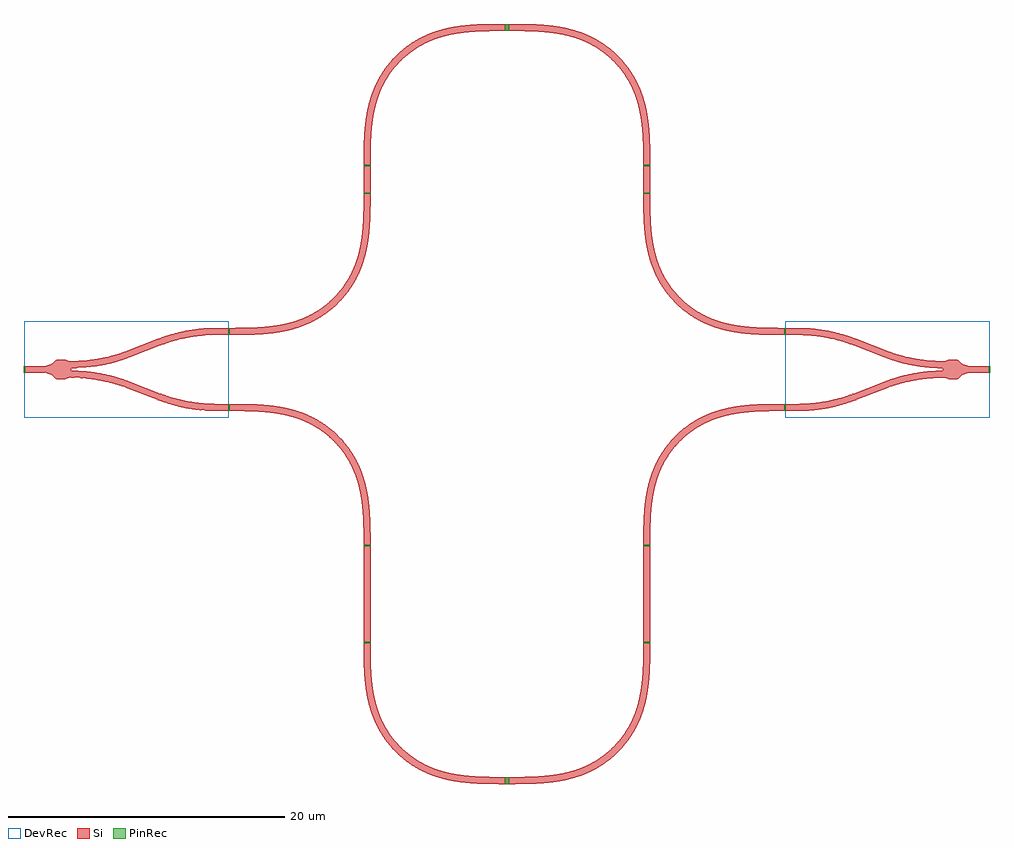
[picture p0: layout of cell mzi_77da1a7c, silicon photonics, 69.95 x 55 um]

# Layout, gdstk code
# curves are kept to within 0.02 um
from math import pi, radians
import gdstk
lib = gdstk.Library(unit=1e-6, precision=1e-09)
def R(c, l, rs):  # rectangles x0, y0, x1, y1
    for r in rs: c.add(gdstk.rectangle(r[:2], r[2:], *l))
def P(c, l, *ps):  # polygons
    for p in ps: c.add(gdstk.Polygon(p, *l))
Si = (1, 0)
PinRec = (1, 10)
DevRec = (68, 0)

ebeam_y_1550 = lib.new_cell('ebeam_y_1550')
R(ebeam_y_1550, Si, [(6.5,-3,7.4,-2.5), (-7.4,-0.25,-6,0.25), (6.5,2.5,7.4,3)])
P(ebeam_y_1550, Si, [(6.458,-3),(6.237,-2.997),(6.237,-2.497),(6.5,-2.5),(6.5,-3)],
  [(5.033,-2.908),(4.288,-2.79),(3.59,-2.634),(2.922,-2.442),(2.265,-2.21),(2.445,-1.744),(3.075,-1.966),(3.731,-2.154),(5.033,-2.404)],
  [(6.233,-2.997),(5.033,-2.908),(5.033,-2.404),(6.237,-2.497)],
  [(2.265,-2.21),(0.055,-1.356),(0.235,-0.89),(2.445,-1.744)],
  [(-0.762,-1.076),(-1.532,-0.874),(-2.334,-0.724),(-3.178,-0.63),(-4,-0.6),(-4,-0.1),(-3.16,-0.13),(-2.381,-0.212),(-1.565,-0.355),(-0.762,-0.555)],
  [(0.055,-1.356),(-0.762,-1.076),(-0.762,-0.555),(0.235,-0.89)],
  [(6.237,2.497),(6.237,2.997),(6.5,3),(6.5,2.5)],
  [(2.445,1.744),(2.267,2.211),(2.922,2.442),(3.59,2.634),(4.288,2.79),(5.033,2.908),(5.033,2.404),(3.731,2.154),(3.075,1.966)],
  [(5.033,2.404),(5.033,2.908),(6.237,2.997),(6.237,2.497)],
  [(0.235,0.89),(0.055,1.356),(2.265,2.21),(2.445,1.744)],
  [(-4,0.1),(-4,0.6),(-3.178,0.63),(-2.334,0.724),(-1.532,0.874),(-0.762,1.076),(-0.762,0.555),(-1.565,0.355),(-2.381,0.212),(-3.16,0.13)],
  [(-0.762,0.555),(-0.762,1.076),(0.055,1.356),(0.235,0.89)],
  [(-5.122,-0.662),(-5.442,-0.374),(-5.808,-0.255),(-6,-0.25),(-6,0.25),(-5.817,0.253),(-5.442,0.374),(-5.122,0.662)],
  [(-4.957,-0.703),(-5.122,-0.662),(-5.122,0.662),(-4.978,0.702),(-4.538,0.703),(-4.167,0.6),(-4,0.6),(-4,-0.6),(-4.167,-0.6),(-4.509,-0.701)])
R(ebeam_y_1550, DevRec, [(-7.4,-3.5,7.4,3.5)])
ebeam_y_1550.add(gdstk.FlexPath([(-7.35,0),(-7.45,0)], 0.5, ends="flush", simple_path=True, layer=1, datatype=10))  # PinRec
ebeam_y_1550.add(gdstk.FlexPath([(7.35,2.75),(7.45,2.75)], 0.5, ends="flush", simple_path=True, layer=1, datatype=10))  # PinRec
ebeam_y_1550.add(gdstk.FlexPath([(7.35,-2.75),(7.45,-2.75)], 0.5, ends="flush", simple_path=True, layer=1, datatype=10))  # PinRec
ebeam_y_1550.add(gdstk.Label('Ref: Y Zhang, Opt. Express, 21/1, 2013', (-7.5,-1), layer=10, texttype=0))
ebeam_y_1550.add(gdstk.Label('opt2', (7.4,2.75), layer=1, texttype=10))
ebeam_y_1550.add(gdstk.Label('opt3', (7.4,-2.75), layer=1, texttype=10))
ebeam_y_1550.add(gdstk.Label('opt1', (-7.4,0), layer=1, texttype=10))
ebeam_y_1550.add(gdstk.Label('Component=ebeam_y_1550', (-6,1.5), layer=68, texttype=0))
ebeam_y_1550.add(gdstk.Label('Lumerical_INTERCONNECT_library=Design kits/ebeam', (-6.86,-2.19), layer=68, texttype=0))
ebeam_y_1550.add(gdstk.Label('Ref: Y Zhang, Opt. Express, 21/1, 2013', (-7.5,-1), layer=10, texttype=0))
ebeam_y_1550.add(gdstk.Label('opt2', (7.4,2.75), layer=1, texttype=10))
ebeam_y_1550.add(gdstk.Label('opt3', (7.4,-2.75), layer=1, texttype=10))
ebeam_y_1550.add(gdstk.Label('opt1', (-7.4,0), layer=1, texttype=10))
ebeam_y_1550.add(gdstk.Label('Component=ebeam_y_1550', (-6,1.5), layer=68, texttype=0))
ebeam_y_1550.add(gdstk.Label('Lumerical_INTERCONNECT_library=Design kits/ebeam', (-6.86,-2.19), layer=68, texttype=0))

bend_euler = lib.new_cell('bend_euler')
P(bend_euler, Si, [(0.047,-0.25),(1.686,-0.23),(3.007,-0.136),(4.229,0.069),(5.261,0.372),(3.041,0.372),(1.761,0.273),(0,0.25),(0,-0.25)],
  [(5.287,0.382),(6.13,0.754),(6.841,1.176),(7.536,1.707),(8.117,2.268),(7.412,2.268),(6.857,1.801),(6.333,1.444),(5.778,1.136),(5.156,0.866),(4.206,0.577),(3.041,0.372)],
  [(8.13,2.282),(8.797,3.119),(9.29,3.957),(9.683,4.894),(9.962,5.911),(9.45,5.911),(9.134,4.844),(8.717,3.941),(8.434,3.476),(8.116,3.035),(7.412,2.268)],
  [(9.972,5.958),(10.113,6.804),(10.196,7.654),(10.236,8.502),(10.25,10),(9.75,10),(9.74,8.654),(9.694,7.643),(9.605,6.778),(9.45,5.911),(9.962,5.911)])
P(bend_euler, DevRec, [(0.047,-0.25),(1.686,-0.23),(3.007,-0.136),(4.229,0.069),(5.261,0.372),(3.041,0.372),(1.761,0.273),(0,0.25),(0,-0.25)],
  [(5.287,0.382),(6.13,0.754),(6.841,1.176),(7.536,1.707),(8.117,2.268),(7.412,2.268),(6.857,1.801),(6.333,1.444),(5.778,1.136),(5.156,0.866),(4.206,0.577),(3.041,0.372)],
  [(8.13,2.282),(8.797,3.119),(9.29,3.957),(9.683,4.894),(9.962,5.911),(9.45,5.911),(9.134,4.844),(8.717,3.941),(8.434,3.476),(8.116,3.035),(7.412,2.268)],
  [(9.972,5.958),(10.113,6.804),(10.196,7.654),(10.236,8.502),(10.25,10),(9.75,10),(9.74,8.654),(9.694,7.643),(9.605,6.778),(9.45,5.911),(9.962,5.911)])
bend_euler.add(gdstk.FlexPath([(0.05,0),(-0.05,0)], 0.5, ends="flush", simple_path=True, layer=1, datatype=10))  # PinRec
bend_euler.add(gdstk.FlexPath([(10,9.95),(10,10.05)], 0.5, ends="flush", simple_path=True, layer=1, datatype=10))  # PinRec
bend_euler.add(gdstk.Label('o1', (0,0), layer=1, texttype=10))
bend_euler.add(gdstk.Label('o2', (10,10), layer=1, texttype=10))

straight_length7p0 = lib.new_cell('straight_length7p0')
R(straight_length7p0, Si, [(0,-0.25,7,0.25)])
R(straight_length7p0, DevRec, [(0,-0.25,7,0.25)])
straight_length7p0.add(gdstk.FlexPath([(0.05,0),(-0.05,0)], 0.5, ends="flush", simple_path=True, layer=1, datatype=10))  # PinRec
straight_length7p0.add(gdstk.FlexPath([(6.95,0),(7.05,0)], 0.5, ends="flush", simple_path=True, layer=1, datatype=10))  # PinRec
straight_length7p0.add(gdstk.Label('o1', (0,0), layer=1, texttype=10))
straight_length7p0.add(gdstk.Label('o2', (7,0), layer=1, texttype=10))

straight_length0p1 = lib.new_cell('straight_length0p1')
R(straight_length0p1, Si, [(0,-0.25,0.1,0.25)])
R(straight_length0p1, DevRec, [(0,-0.25,0.1,0.25)])
straight_length0p1.add(gdstk.FlexPath([(0.05,0),(-0.05,0)], 0.5, ends="flush", simple_path=True, layer=1, datatype=10))  # PinRec
straight_length0p1.add(gdstk.FlexPath([(0.05,0),(0.15,0)], 0.5, ends="flush", simple_path=True, layer=1, datatype=10))  # PinRec
straight_length0p1.add(gdstk.Label('o1', (0,0), layer=1, texttype=10))
straight_length0p1.add(gdstk.Label('o2', (0.1,0), layer=1, texttype=10))

straight_length2p0 = lib.new_cell('straight_length2p0')
R(straight_length2p0, Si, [(0,-0.25,2,0.25)])
R(straight_length2p0, DevRec, [(0,-0.25,2,0.25)])
straight_length2p0.add(gdstk.FlexPath([(0.05,0),(-0.05,0)], 0.5, ends="flush", simple_path=True, layer=1, datatype=10))  # PinRec
straight_length2p0.add(gdstk.FlexPath([(1.95,0),(2.05,0)], 0.5, ends="flush", simple_path=True, layer=1, datatype=10))  # PinRec
straight_length2p0.add(gdstk.Label('o1', (0,0), layer=1, texttype=10))
straight_length2p0.add(gdstk.Label('o2', (2,0), layer=1, texttype=10))

straight_5eb36c7e = lib.new_cell('straight_5eb36c7e')
R(straight_5eb36c7e, Si, [(0,-0.25,0.14,0.25)])
R(straight_5eb36c7e, DevRec, [(0,-0.25,0.14,0.25)])
straight_5eb36c7e.add(gdstk.FlexPath([(0.05,0),(-0.05,0)], 0.5, ends="flush", simple_path=True, layer=1, datatype=10))  # PinRec
straight_5eb36c7e.add(gdstk.FlexPath([(0.09,0),(0.19,0)], 0.5, ends="flush", simple_path=True, layer=1, datatype=10))  # PinRec
straight_5eb36c7e.add(gdstk.Label('o1', (0,0), layer=1, texttype=10))
straight_5eb36c7e.add(gdstk.Label('o2', (0.14,0), layer=1, texttype=10))

straight_9c222140 = lib.new_cell('straight_9c222140')
R(straight_9c222140, Si, [(0,-0.25,2,0.25)])
R(straight_9c222140, DevRec, [(0,-0.25,2,0.25)])
straight_9c222140.add(gdstk.FlexPath([(0.05,0),(-0.05,0)], 0.5, ends="flush", simple_path=True, layer=1, datatype=10))  # PinRec
straight_9c222140.add(gdstk.FlexPath([(1.95,0),(2.05,0)], 0.5, ends="flush", simple_path=True, layer=1, datatype=10))  # PinRec
straight_9c222140.add(gdstk.Label('o1', (0,0), layer=1, texttype=10))
straight_9c222140.add(gdstk.Label('o2', (2,0), layer=1, texttype=10))

straight_6a7bca88 = lib.new_cell('straight_6a7bca88')
R(straight_6a7bca88, Si, [(0,-0.25,0.01,0.25)])
R(straight_6a7bca88, DevRec, [(0,-0.25,0.01,0.25)])
straight_6a7bca88.add(gdstk.FlexPath([(0.05,0),(-0.05,0)], 0.5, ends="flush", simple_path=True, layer=1, datatype=10))  # PinRec
straight_6a7bca88.add(gdstk.FlexPath([(-0.04,0),(0.06,0)], 0.5, ends="flush", simple_path=True, layer=1, datatype=10))  # PinRec
straight_6a7bca88.add(gdstk.Label('o1', (0,0), layer=1, texttype=10))
straight_6a7bca88.add(gdstk.Label('o2', (0.01,0), layer=1, texttype=10))

straight_4f6919e1 = lib.new_cell('straight_4f6919e1')
R(straight_4f6919e1, Si, [(0,-0.25,7,0.25)])
R(straight_4f6919e1, DevRec, [(0,-0.25,7,0.25)])
straight_4f6919e1.add(gdstk.FlexPath([(0.05,0),(-0.05,0)], 0.5, ends="flush", simple_path=True, layer=1, datatype=10))  # PinRec
straight_4f6919e1.add(gdstk.FlexPath([(6.95,0),(7.05,0)], 0.5, ends="flush", simple_path=True, layer=1, datatype=10))  # PinRec
straight_4f6919e1.add(gdstk.Label('o1', (0,0), layer=1, texttype=10))
straight_4f6919e1.add(gdstk.Label('o2', (7,0), layer=1, texttype=10))

mzi_77da1a7c = lib.new_cell('mzi_77da1a7c')
mzi_77da1a7c.add(gdstk.Reference(ebeam_y_1550, (0,0)))
mzi_77da1a7c.add(gdstk.Reference(ebeam_y_1550, (55.05,0), rotation=pi, x_reflection=True))
mzi_77da1a7c.add(gdstk.Reference(bend_euler, (7.4,-2.75), x_reflection=True))
mzi_77da1a7c.add(gdstk.Reference(straight_length7p0, (17.4,-12.75), rotation=3*pi/2))
mzi_77da1a7c.add(gdstk.Reference(bend_euler, (17.4,-19.75), rotation=3*pi/2))
mzi_77da1a7c.add(gdstk.Reference(straight_length0p1, (27.4,-29.75)))
mzi_77da1a7c.add(gdstk.Reference(bend_euler, (7.4,2.75)))
mzi_77da1a7c.add(gdstk.Reference(straight_length2p0, (17.4,12.75), rotation=pi/2))
mzi_77da1a7c.add(gdstk.Reference(bend_euler, (27.4,24.75), rotation=pi))
mzi_77da1a7c.add(gdstk.Reference(straight_length0p1, (27.4,24.75)))
mzi_77da1a7c.add(gdstk.Reference(bend_euler, (27.64,24.75), x_reflection=True))
mzi_77da1a7c.add(gdstk.Reference(bend_euler, (37.64,12.75), rotation=3*pi/2))
mzi_77da1a7c.add(gdstk.Reference(straight_5eb36c7e, (27.5,24.75)))
mzi_77da1a7c.add(gdstk.Reference(straight_9c222140, (37.64,14.75), rotation=3*pi/2))
mzi_77da1a7c.add(gdstk.Reference(straight_6a7bca88, (47.64,2.75)))
mzi_77da1a7c.add(gdstk.Reference(bend_euler, (27.64,-29.75)))
mzi_77da1a7c.add(gdstk.Reference(bend_euler, (37.64,-12.75), rotation=pi/2, x_reflection=True))
mzi_77da1a7c.add(gdstk.Reference(straight_5eb36c7e, (27.5,-29.75)))
mzi_77da1a7c.add(gdstk.Reference(straight_4f6919e1, (37.64,-19.75), rotation=pi/2))
mzi_77da1a7c.add(gdstk.Reference(straight_6a7bca88, (47.64,-2.75)))

lib.write_gds('mzi_77da1a7c.gds')
